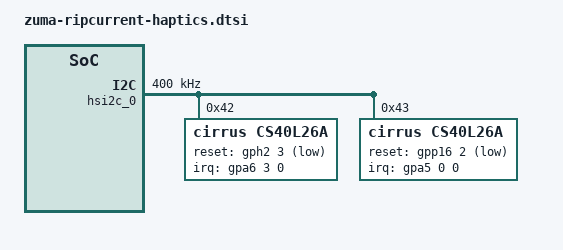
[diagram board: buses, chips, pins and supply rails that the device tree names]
// SPDX-License-Identifier: GPL-2.0-only
/*
 * Google Zuma cs40l26 device tree source
 *
 * Copyright (c) 2022 Google, LLC
 *		https://www.google.com
 *
*/

#include <dt-bindings/gpio/gpio.h>
#include <arm64/exynos/exynos-pinctrl.h>

&dai_be_haptic_rx {
	dai_be_haptic_rx_codec: codec {
		sound-dai = <&cs40l26_codec 0>, <&cs40l26_codec_2 0>;
	};
};

&aoc_snd_card {
	clks {
		sys {
			sys@cs40l26_codec {
				comp = <&cs40l26_codec>;
				src = "BCLK";
				/* clk id */
				id = <0>;
				/* clk source */
				srcid = <0>;
				/* in clk multiple */
				in_mul = <1>;
				/* out clk multiple */
				out_mul = <1>;
			};

			sys@cs40l26_codec_2 {
				comp = <&cs40l26_codec_2>;
				src = "BCLK";
				/* clk id */
				id = <0>;
				/* clk source */
				srcid = <0>;
				/* in clk multiple */
				in_mul = <1>;
				/* out clk multiple */
				out_mul = <1>;
			};

		};
	};
};

/* GPIO_ALIVE*/
&pinctrl_0 {
	hapt_amp1_irq: hapt-amp1-irq {
		samsung,pins = "gpa6-3"; /* XEINT_11 */
		samsung,pin-function = <EXYNOS_PIN_FUNC_EINT>;
		samsung,pin-pud = <EXYNOS_PIN_PULL_NONE>;
	};
};

/* GPIO_FAR_ALIVE */
&pinctrl_2 {
	hapt_amp2_irq: hapt-amp2-irq {
		samsung,pins = "gpa5-0"; /* XEINT_0 */
		samsung,pin-function = <EXYNOS_PIN_FUNC_EINT>;
		samsung,pin-pud = <EXYNOS_PIN_PULL_NONE>;
	};
};

/* GPIO_HSI1 */
&pinctrl_8 {
	hapt_amp1_rst: hapt-amp1-rst {
		samsung,pins = "gph2-3"; /* XHSI1_GPIO13 */
		samsung,pin-function = <EXYNOS_PIN_FUNC_OUTPUT>;
		samsung,pin-pud = <EXYNOS_PIN_PULL_NONE>;
		samsung,pin-con-pdn = <EXYNOS_PIN_PDN_PREV>;
		samsung,pin-pud-pdn = <EXYNOS_PIN_PULL_NONE>;
	};

	hapt_amp_trig: hapt-amp-trig {
		samsung,pins = "gph2-0"; /* XHSI1_GPIO10 */
		samsung,pin-function = <EXYNOS_PIN_FUNC_OUTPUT>;
		samsung,pin-pud = <EXYNOS_PIN_PULL_NONE>;
		samsung,pin-con-pdn = <EXYNOS_PIN_PDN_PREV>;
		samsung,pin-pud-pdn = <EXYNOS_PIN_PULL_NONE>;
	};
};

/* GPIO_PERIC0 */
&pinctrl_11 {
	hapt_amp2_rst: hapt-amp2-rst {
		samsung,pins = "gpp16-2"; /* XAPC_USI14_RTSn_DI */
		samsung,pin-function = <EXYNOS_PIN_FUNC_OUTPUT>;
		samsung,pin-pud = <EXYNOS_PIN_PULL_NONE>;
		samsung,pin-con-pdn = <EXYNOS_PIN_PDN_PREV>;
		samsung,pin-pud-pdn = <EXYNOS_PIN_PULL_NONE>;
	};
};


&hsi2c_0 {
	#address-cells = <1>;
	#size-cells = <0>;
	status = "okay";

	clock-frequency = <400000>;

	cs40l26a@42 {
		compatible = "cirrus,cs40l26a";
		reg = <0x42>;
		input-device-name = "cs40l26_dual_input";    /* input device name */

		pinctrl-names = "default";
		pinctrl-0 = <&hapt_amp1_irq &hapt_amp1_rst &hapt_amp_trig>;

		interrupt-parent = <&gpa6>;
		interrupts = <3 0 0>;

		reset-gpios = <&gph2 3 GPIO_ACTIVE_LOW>;

		cirrus,bst-dcm-en = <0>;
		cirrus,pwle-zero-cross-en;
		cirrus,vpbr-enable;
		cirrus,vpbr-thld-uv = <2800000>;	/* 2.8V */
		cirrus,bst-expl-mode-disable;
		cirrus,bst-ipk-microamp = <3500000>;	/* 3.5A */
		cirrus,bst-ctl-microvolt = <11000000>;	/* 11V */
		cirrus,f0-default = <0x244000>;		/* 145 Hz */
		cirrus,redc-default = <0x68000>;	/* 13 Ohm */
		cirrus,pm-active-timeout-ms = <5>;

		status = "okay";

		cs40l26_codec: cs40l26_codec@snd {
			#sound-dai-cells = <1>;
			compatible = "cs40l26-codec";
			status = "okay";
		};
	};

	cs40l26a@43 {
		compatible = "cirrus,cs40l26a";
		reg = <0x43>;
		input-device-name = "cs40l26_input";    /* input device name */

		pinctrl-names = "default";
		pinctrl-0 = <&hapt_amp2_irq &hapt_amp2_rst>;

		interrupt-parent = <&gpa5>;
		interrupts = <0 0 0>;

		reset-gpios = <&gpp16 2 GPIO_ACTIVE_LOW>;

		cirrus,bst-dcm-en = <0>;
		cirrus,pwle-zero-cross-en;
		cirrus,vpbr-enable;
		cirrus,vpbr-thld-uv = <2800000>;	/* 2.8V */
		cirrus,bst-expl-mode-disable;
		cirrus,bst-ipk-microamp = <3500000>;	/* 3.5A */
		cirrus,bst-ctl-microvolt = <11000000>;	/* 11V */
		cirrus,f0-default = <0x244000>;		/* 145 Hz */
		cirrus,redc-default = <0x68000>;	/* 13 Ohm */
		cirrus,pm-active-timeout-ms = <5>;

		status = "okay";

		cs40l26_codec_2: cs40l26_codec_2@snd {
			#sound-dai-cells = <1>;
			compatible = "cs40l26-codec";
			sound-name-prefix = "HR";
			status = "okay";
		};
	};
};
